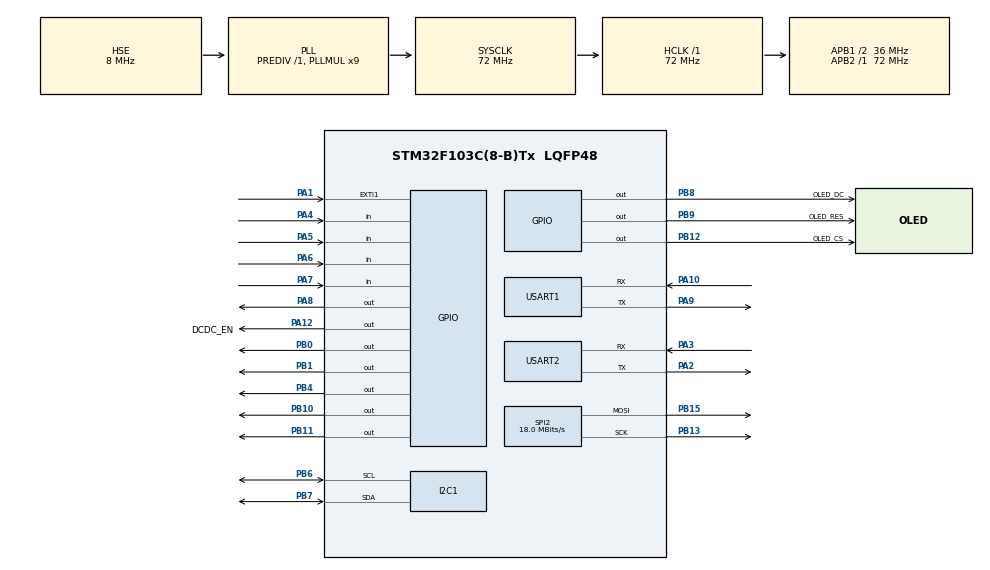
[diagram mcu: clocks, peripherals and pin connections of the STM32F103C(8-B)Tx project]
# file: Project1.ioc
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FREERTOS.Tasks01=defaultTask,24,128,StartDefaultTask,Default,NULL,Dynamic,NULL,NULL
Mcu.Family=STM32F1
Mcu.Name=STM32F103C(8-B)Tx
Mcu.Package=LQFP48
NVIC.PriorityGroup=NVIC_PRIORITYGROUP_4
NVIC.TIM1_UP_IRQn=true\:15\:0\:false\:false\:true\:false\:false\:true\:true
NVIC.TimeBase=TIM1_UP_IRQn
NVIC.TimeBaseIP=TIM1
PA0-WKUP.Mode=SYS_WakeUp0
PA0-WKUP.Signal=SYS_WKUP
PA1.Signal=GPXTI1
PA10.Mode=Asynchronous
PA10.Signal=USART1_RX
PA12.GPIO_Label=DCDC_EN
PA12.GPIO_PuPd=GPIO_PULLUP
PA12.GPIO_Speed=GPIO_SPEED_FREQ_HIGH
PA12.PinState=GPIO_PIN_SET
PA12.Signal=GPIO_Output
PA13.Mode=Serial_Wire
PA13.Signal=SYS_JTMS-SWDIO
PA14.Mode=Serial_Wire
PA14.Signal=SYS_JTCK-SWCLK
PA2.Mode=Asynchronous
PA2.Signal=USART2_TX
PA3.Mode=Asynchronous
PA3.Signal=USART2_RX
PA4.Signal=GPIO_Input
PA5.Signal=GPIO_Input
PA6.Signal=GPIO_Input
PA7.Signal=GPIO_Input
PA8.Signal=GPIO_Output
PA9.Mode=Asynchronous
PA9.Signal=USART1_TX
PB0.Signal=GPIO_Output
PB1.Signal=GPIO_Output
PB10.Signal=GPIO_Output
PB11.Signal=GPIO_Output
PB12.GPIO_Label=OLED_CS
PB12.GPIO_PuPd=GPIO_PULLUP
PB12.GPIO_Speed=GPIO_SPEED_FREQ_HIGH
PB12.PinState=GPIO_PIN_SET
PB12.Signal=GPIO_Output
PB13.Mode=TX_Only_Simplex_Unidirect_Master
PB13.Signal=SPI2_SCK
PB15.Mode=TX_Only_Simplex_Unidirect_Master
PB15.Signal=SPI2_MOSI
PB4.Signal=GPIO_Output
PB6.Mode=I2C
PB6.Signal=I2C1_SCL
PB7.Mode=I2C
PB7.Signal=I2C1_SDA
PB8.GPIO_Label=OLED_DC
PB8.GPIO_PuPd=GPIO_PULLUP
PB8.GPIO_Speed=GPIO_SPEED_FREQ_HIGH
PB8.Signal=GPIO_Output
PB9.GPIO_Label=OLED_RES
PB9.GPIO_PuPd=GPIO_PULLUP
PB9.GPIO_Speed=GPIO_SPEED_FREQ_HIGH
PB9.Signal=GPIO_Output
PC14-OSC32_IN.Mode=LSE-External-Oscillator
PC14-OSC32_IN.Signal=RCC_OSC32_IN
PC15-OSC32_OUT.Mode=LSE-External-Oscillator
PC15-OSC32_OUT.Signal=RCC_OSC32_OUT
PD0-OSC_IN.Mode=HSE-External-Oscillator
PD0-OSC_IN.Signal=RCC_OSC_IN
PD1-OSC_OUT.Mode=HSE-External-Oscillator
PD1-OSC_OUT.Signal=RCC_OSC_OUT
ProjectManager.HeapSize=0x200
ProjectManager.StackSize=0x400
ProjectManager.TargetToolchain=MDK-ARM V5.32
RCC.AHBFreq_Value=72000000
RCC.APB1CLKDivider=RCC_HCLK_DIV2
RCC.APB1Freq_Value=36000000
RCC.APB1TimFreq_Value=72000000
RCC.APB2Freq_Value=72000000
RCC.APB2TimFreq_Value=72000000
RCC.HCLKFreq_Value=72000000
RCC.PLLMUL=RCC_PLL_MUL9
RCC.PLLSourceVirtual=RCC_PLLSOURCE_HSE
RCC.SYSCLKFreq_VALUE=72000000
RCC.SYSCLKSource=RCC_SYSCLKSOURCE_PLLCLK
RCC.USBFreq_Value=72000000
SPI2.CalculateBaudRate=18.0 MBits/s
SPI2.Direction=SPI_DIRECTION_2LINES
SPI2.Mode=SPI_MODE_MASTER
SPI2.VirtualType=VM_MASTER
USART1.VirtualMode=VM_ASYNC
USART2.VirtualMode=VM_ASYNC
VP_FREERTOS_VS_CMSIS_V2.Mode=CMSIS_V2
VP_SYS_VS_tim1.Mode=TIM1
board=custom

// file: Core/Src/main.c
/* USER CODE BEGIN Header */
/**
  ******************************************************************************
  * @file           : main.c
  * @brief          : Main program body
  ******************************************************************************
  * @attention
  *
  * Copyright (c) 2023 STMicroelectronics.
  * All rights reserved.
  *
  * This software is licensed under terms that can be found in the LICENSE file
  * in the root directory of this software component.
  * If no LICENSE file comes with this software, it is provided AS-IS.
  *
  ******************************************************************************
  */
/* USER CODE END Header */
#include "main.h"
#include "cmsis_os.h"

/* USER CODE BEGIN Includes */

#include <stdio.h>

#include "oled.h"
#include "uart.h"
#include "flash.h"
#include "sensor_bmp180.h"
#include "sensor_BH1750.h"
#include "sensor_DHT11.h"

#include "u8g2.h"
#include "u8x8.h"

#include "icon.h"

/* USER CODE END Includes */

/* USER CODE BEGIN PD */
#define KEY_SCAN_DELAY 20

#define KEY_UP 			1
#define KEY_3 			2
#define KEY_2 			3
#define KEY_1 			4
#define KEY_RIGHT 	5
#define KEY_6 			6
#define KEY_5 			7
#define KEY_4 			8
#define KEY_LEFT 		9
#define KEY_9 			10
#define KEY_8 			11
#define KEY_7 			12
#define KEY_DOWN 		13
#define KEY_ENTER 	14
#define KEY_0 			15
#define KEY_CANCEL 	16

#define UI_PAGE_MAX 		1
#define UI_SETTING_MAX 	2

/* USER CODE END PD */

I2C_HandleTypeDef hi2c1;

SPI_HandleTypeDef hspi2;

UART_HandleTypeDef huart1;
UART_HandleTypeDef huart2;

uint32_t readBuffer[3];

float  		environment_pressure 						=	 0.0;
float 		environment_temperature_BMP180 	=	 0.0;
float 		environment_temperature_DHT11 	=	 0.0;
uint16_t	environment_humidity 						=	 0;
uint16_t  environment_light						  	=  0;

float			limit_pressure;
float			limit_temperature;
uint16_t 	limit_humidity;
uint16_t 	limit_light;

uint8_t UI_page = 0;
uint8_t UI_subpage = 0;
uint8_t UI_wifi_page = 0;
uint8_t UI_setting_selected = 0;
uint8_t UI_setting_subselected = 0;
uint8_t UI_SUBSELECTED_MAX = 0;

char str_buffer[32];

u8g2_t u8g2;

#define UART2_BUFFER_SIZE 2048
char buffer_rx[UART2_BUFFER_SIZE];
uint8_t a_buffer_rx;
uint32_t count_rx = 0;

//Wi-Fi
#define WIFI_ACTION_NONE 		0
#define WIFI_ACTION_SCAN 		1
#define WIFI_ACTION_CONN 		2
#define WIFI_ACTION_DISCONN 3
#define WIFI_ACTION_CHECK		4
#define WIFI_ACTION_CHKCONN	5
#define WIFI_ACTION_TCPSEND	6
#define WIFI_ACTION_RECEIVE	7
uint8_t wifi_action_now = WIFI_ACTION_NONE;

#define WIFI_STATUS_CONN 		1
#define WIFI_STATUS_DISCONN 2
uint8_t wifi_status_now = WIFI_STATUS_DISCONN;

typedef struct {
	uint8_t ecn;
	uint8_t ssid[32];
	uint8_t mac[6];
} wifi_info_typedef;

#define WIFI_LIST_INDEX_MAX 30
#define WIFI_SHOW_PAGE_MAX 5

wifi_info_typedef wifi_info[WIFI_LIST_INDEX_MAX];
wifi_info_typedef wifi_info_connect;

#define WIFI_UART_RETRY_TIME_MAX 4
uint8_t wifi_uart_retry_time = 0;

uint8_t wifi_rssi_inverted = 0;

uint8_t server_ip[4] = {192, 168, 31, 140};
uint16_t server_port = 1234;

uint8_t connection_status = 0;

uint8_t tcp_buffer_tx[1024];

const char UI_setting_texts[3][7] = {
		"Alarm",
		"Wi-Fi",
		"Upload",
	};

/* Definitions for tasks */

/*
osThreadId_t ;
const osThreadAttr_t _attributes = {
	.name = "",
	.stack_size = 128 * ,
	.priority = (osPriority_t) osPriorityNormal,
};
*/

osThreadId_t OLEDTaskHandle;
const osThreadAttr_t OLEDTask_attributes = {
  .name = "OLEDTask",
  .stack_size = 128 * 4,
  .priority = (osPriority_t) osPriorityNormal,
};

osThreadId_t uartDebugTaskHandle;
const osThreadAttr_t uartDebugTask_attributes = {
	.name = "uartDebug",
	.stack_size = 128 * 4,
	.priority = (osPriority_t) osPriorityNormal,
};

osThreadId_t getSensorDataTaskHandle;
const osThreadAttr_t getSensorDataTask_attributes = {
	.name = "sensorData",
	.stack_size = 128 * 4,
	.priority = (osPriority_t) osPriorityNormal,
};

osThreadId_t get1WireDataTaskHandle;
const osThreadAttr_t get1WireDataTask_attributes = {
	.name = "1WireData",
	.stack_size = 128 * 4,
	.priority = (osPriority_t) osPriorityRealtime,	//Need high priority for 1-wire communication.
};

osThreadId_t keyboardServiceTaskHandle;
const osThreadAttr_t keyboardServiceTaskHandle_attributes = {
	.name = "keyboardServ",
	.stack_size = 128 * 4,
	.priority = (osPriority_t) osPriorityNormal2,
};

osThreadId_t buzzerTaskHandle;
const osThreadAttr_t buzzerTaskHandle_attributes = {
	.name = "buzzer",
	.stack_size = 128 * 2,
	.priority = (osPriority_t) osPriorityNormal1,
};

osThreadId_t wifiServiceTaskHandle;
const osThreadAttr_t wifiServiceTaskHandle_attributes = {
	.name = "wifiServ",
	.stack_size = 128 * 1,
	.priority = (osPriority_t) osPriorityNormal2,
};

void SystemClock_Config(void);
static void MX_GPIO_Init(void);
static void MX_I2C1_Init(void);
static void MX_SPI2_Init(void);
static void MX_USART1_UART_Init(void);
static void MX_USART2_UART_Init(void);

void StartOLEDTask(void *argument);
void StartUartDebugTask(void *argument);
void StartGetSensorDataTask(void *argument);
void StartGet1WireDataTask(void *argument);
void StartKeyboardServiceTask(void *argument);
void StartBuzzerTask(void *argument);
void StartWifiServiceTask(void *argument);

uint8_t u8x8_stm32_gpio_and_delay(U8X8_UNUSED u8x8_t *u8x8, U8X8_UNUSED uint8_t msg, U8X8_UNUSED uint8_t arg_int, U8X8_UNUSED void *arg_ptr);
uint8_t u8x8_byte_4wire_hw_spi(u8x8_t *u8x8, uint8_t msg, uint8_t arg_int,void *arg_ptr);
void u8g2_Init(u8g2_t *u8g2);
void u8g2_Draw(u8g2_t *u8g2);

void draw_inputBox(u8g2_t *u8g2, uint8_t x, uint8_t y, uint8_t w, uint8_t h, float value);

uint8_t char2hex(uint8_t ch1, uint8_t ch2);

uint8_t char2hex(uint8_t ch_hi, uint8_t ch_lo)	{
	uint8_t ans = 0x00;

	switch(ch_hi){
		case '1': ans |= 0x10; break;
		case '2': ans |= 0x20; break;
		case '3': ans |= 0x30; break;
		case '4': ans |= 0x40; break;
		case '5': ans |= 0x50; break;
		case '6': ans |= 0x60; break;
		case '7': ans |= 0x70; break;
		case '8': ans |= 0x80; break;
		case '9': ans |= 0x90; break;
		case 'A':
		case 'a': ans |= 0xA0; break;
		case 'B':
		case 'b': ans |= 0xB0; break;
		case 'C':
		case 'c': ans |= 0xC0; break;
		case 'D':
		case 'd': ans |= 0xD0; break;
		case 'E':
		case 'e': ans |= 0xE0; break;
		case 'F':
		case 'f': ans |= 0xF0; break;
		default: break;
	}

		switch(ch_lo){
		case '1': ans |= 0x01; break;
		case '2': ans |= 0x02; break;
		case '3': ans |= 0x03; break;
		case '4': ans |= 0x04; break;
		case '5': ans |= 0x05; break;
		case '6': ans |= 0x06; break;
		case '7': ans |= 0x07; break;
		case '8': ans |= 0x08; break;
		case '9': ans |= 0x09; break;
		case 'A':
		case 'a': ans |= 0x0A; break;
		case 'B':
		case 'b': ans |= 0x0B; break;
		case 'C':
		case 'c': ans |= 0x0C; break;
		case 'D':
		case 'd': ans |= 0x0D; break;
		case 'E':
		case 'e': ans |= 0x0E; break;
		case 'F':
		case 'f': ans |= 0x0F; break;
		default: break;
	}

	return ans;
}

int main(void)
{

  /* MCU Configuration--------------------------------------------------------*/

  /* Reset of all peripherals, Initializes the Flash interface and the Systick. */
  HAL_Init();

  /* Configure the system clock */
  SystemClock_Config();

  /* Initialize all configured peripherals */
  MX_GPIO_Init();
  MX_I2C1_Init();
  MX_SPI2_Init();
  MX_USART1_UART_Init();
  MX_USART2_UART_Init();
  /* USER CODE BEGIN 2 */

	HAL_PWR_EnableWakeUpPin(PWR_WAKEUP_PIN1);
	SET_BIT(PWR->CR, PWR_CR_CWUF_Msk);
	SET_BIT(PWR->CR, PWR_CR_CSBF_Msk);

	HAL_GPIO_WritePin(GPIOA, GPIO_PIN_13, GPIO_PIN_SET);

	OLED_Init();

	HAL_I2C_Init(&hi2c1);
	BMP180_Init();

	//read from flash page 127.
	readData(0x08000000 + 0x400 * 127, readBuffer, 3);
	UartSend(&huart1, "Read data:\n");
	sprintf(str_buffer, "%08x\n%08x\n%08x\n", readBuffer[0], readBuffer[1], readBuffer[2]);
	UartSend(&huart1, str_buffer);

	if(readBuffer[0] == 0xFFFFFFFF && readBuffer[1] == 0xFFFFFFFF && readBuffer[2] == 0xFFFFFFFF){

		//first boot-up after flashing.
		limit_pressure		 = 2000;
		limit_temperature	 = 40.0;
		limit_humidity		 = 80;
		limit_light				 = 2000;

	}
	else{

		limit_pressure 		= readBuffer[0];
		limit_temperature = readBuffer[1];
		limit_humidity 		= (readBuffer[2] >> 16) & 0xFFFF;
		limit_light				= (readBuffer[2]) & 0xFFFF;

	}

//	BH1750_Send_Cmd(POWER_ON_CMD);
//	BH1750_Send_Cmd(RESET_REGISTER);
//	BH1750_Send_Cmd(CONT_H_MODE);

  /* USER CODE END 2 */

  /* Init scheduler */
  osKernelInitialize();

  /* Create the thread(s) */

  OLEDTaskHandle 						=   osThreadNew(StartOLEDTask, NULL, &OLEDTask_attributes);
//	uartDebugTaskHandle 			= 	osThreadNew(StartUartDebugTask, NULL, &uartDebugTask_attributes);
	getSensorDataTaskHandle 	= 	osThreadNew(StartGetSensorDataTask, NULL, &getSensorDataTask_attributes);
	get1WireDataTaskHandle	  = 	osThreadNew(StartGet1WireDataTask, NULL, &get1WireDataTask_attributes);
	keyboardServiceTaskHandle = 	osThreadNew(StartKeyboardServiceTask, NULL, &keyboardServiceTaskHandle_attributes);
	buzzerTaskHandle					=		osThreadNew(StartBuzzerTask, NULL, &buzzerTaskHandle_attributes);
	wifiServiceTaskHandle			=		osThreadNew(StartWifiServiceTask, NULL, &wifiServiceTaskHandle_attributes);

  /* USER CODE END RTOS_THREADS */

  /* Start scheduler */
  osKernelStart();

  /* We should never get here as control is now taken by the scheduler */
  /* Infinite loop */
  while (1)
  {

  }
}

void SystemClock_Config(void)			//PLL 72MHz
{
  RCC_OscInitTypeDef RCC_OscInitStruct = {0};
  RCC_ClkInitTypeDef RCC_ClkInitStruct = {0};

  /** Initializes the RCC Oscillators according to the specified parameters
  * in the RCC_OscInitTypeDef structure.
  */
  RCC_OscInitStruct.OscillatorType = RCC_OSCILLATORTYPE_HSE;
  RCC_OscInitStruct.HSEState = RCC_HSE_ON;
  RCC_OscInitStruct.HSEPredivValue = RCC_HSE_PREDIV_DIV1;
  RCC_OscInitStruct.HSIState = RCC_HSI_ON;
  RCC_OscInitStruct.PLL.PLLState = RCC_PLL_ON;
  RCC_OscInitStruct.PLL.PLLSource = RCC_PLLSOURCE_HSE;
  RCC_OscInitStruct.PLL.PLLMUL = RCC_PLL_MUL9;
  if (HAL_RCC_OscConfig(&RCC_OscInitStruct) != HAL_OK)
  {
    Error_Handler();
  }

  /** Initializes the CPU, AHB and APB buses clocks
  */
  RCC_ClkInitStruct.ClockType = RCC_CLOCKTYPE_HCLK|RCC_CLOCKTYPE_SYSCLK
                              |RCC_CLOCKTYPE_PCLK1|RCC_CLOCKTYPE_PCLK2;
  RCC_ClkInitStruct.SYSCLKSource = RCC_SYSCLKSOURCE_PLLCLK;
  RCC_ClkInitStruct.AHBCLKDivider = RCC_SYSCLK_DIV1;
  RCC_ClkInitStruct.APB1CLKDivider = RCC_HCLK_DIV2;
  RCC_ClkInitStruct.APB2CLKDivider = RCC_HCLK_DIV1;

  if (HAL_RCC_ClockConfig(&RCC_ClkInitStruct, FLASH_LATENCY_2) != HAL_OK)
  {
    Error_Handler();
  }

  /** Enables the Clock Security System
  */
  HAL_RCC_EnableCSS();
}

//void SystemClock_Config(void)			//HSI 8MHz
//{
//  RCC_OscInitTypeDef RCC_OscInitStruct = {0};
//  RCC_ClkInitTypeDef RCC_ClkInitStruct = {0};

//  /** Initializes the RCC Oscillators according to the specified parameters
//  * in the RCC_OscInitTypeDef structure.
//  */
//  RCC_OscInitStruct.OscillatorType = RCC_OSCILLATORTYPE_HSI;
//  RCC_OscInitStruct.HSIState = RCC_HSI_ON;
//  RCC_OscInitStruct.HSICalibrationValue = RCC_HSICALIBRATION_DEFAULT;
//  RCC_OscInitStruct.PLL.PLLState = RCC_PLL_NONE;
//  if (HAL_RCC_OscConfig(&RCC_OscInitStruct) != HAL_OK)
//  {
//    Error_Handler();
//  }

//  /** Initializes the CPU, AHB and APB buses clocks
//  */
//  RCC_ClkInitStruct.ClockType = RCC_CLOCKTYPE_HCLK|RCC_CLOCKTYPE_SYSCLK
//                              |RCC_CLOCKTYPE_PCLK1|RCC_CLOCKTYPE_PCLK2;
//  RCC_ClkInitStruct.SYSCLKSource = RCC_SYSCLKSOURCE_HSI;
//  RCC_ClkInitStruct.AHBCLKDivider = RCC_SYSCLK_DIV1;
//  RCC_ClkInitStruct.APB1CLKDivider = RCC_HCLK_DIV2;
//  RCC_ClkInitStruct.APB2CLKDivider = RCC_HCLK_DIV1;

//  if (HAL_RCC_ClockConfig(&RCC_ClkInitStruct, FLASH_LATENCY_0) != HAL_OK)
//  {
//    Error_Handler();
//  }
//}

static void MX_I2C1_Init(void)
{

  hi2c1.Instance = I2C1;
  hi2c1.Init.ClockSpeed = 100000;
  hi2c1.Init.DutyCycle = I2C_DUTYCYCLE_2;
  hi2c1.Init.OwnAddress1 = 0;
  hi2c1.Init.AddressingMode = I2C_ADDRESSINGMODE_7BIT;
  hi2c1.Init.DualAddressMode = I2C_DUALADDRESS_DISABLE;
  hi2c1.Init.OwnAddress2 = 0;
  hi2c1.Init.GeneralCallMode = I2C_GENERALCALL_DISABLE;
  hi2c1.Init.NoStretchMode = I2C_NOSTRETCH_DISABLE;
  if (HAL_I2C_Init(&hi2c1) != HAL_OK)
  {
    Error_Handler();
  }

}

static void MX_SPI2_Init(void)
{

  /* SPI2 parameter configuration*/
  hspi2.Instance = SPI2;
  hspi2.Init.Mode = SPI_MODE_MASTER;
  hspi2.Init.Direction = SPI_DIRECTION_2LINES;
  hspi2.Init.DataSize = SPI_DATASIZE_8BIT;
  hspi2.Init.CLKPolarity = SPI_POLARITY_LOW;
  hspi2.Init.CLKPhase = SPI_PHASE_1EDGE;
  hspi2.Init.NSS = SPI_NSS_SOFT;
  hspi2.Init.BaudRatePrescaler = SPI_BAUDRATEPRESCALER_2;
  hspi2.Init.FirstBit = SPI_FIRSTBIT_MSB;
  hspi2.Init.TIMode = SPI_TIMODE_DISABLE;
  hspi2.Init.CRCCalculation = SPI_CRCCALCULATION_DISABLE;
  hspi2.Init.CRCPolynomial = 10;
  if (HAL_SPI_Init(&hspi2) != HAL_OK)
  {
    Error_Handler();
  }

}

static void MX_USART1_UART_Init(void)
{

  huart1.Instance = USART1;
  huart1.Init.BaudRate = 115200;
  huart1.Init.WordLength = UART_WORDLENGTH_8B;
  huart1.Init.StopBits = UART_STOPBITS_1;
  huart1.Init.Parity = UART_PARITY_NONE;
  huart1.Init.Mode = UART_MODE_TX_RX;
  huart1.Init.HwFlowCtl = UART_HWCONTROL_NONE;
  huart1.Init.OverSampling = UART_OVERSAMPLING_16;
  if (HAL_UART_Init(&huart1) != HAL_OK)
  {
    Error_Handler();
  }

}

static void MX_USART2_UART_Init(void)
{

  huart2.Instance = USART2;
  huart2.Init.BaudRate = 115200;
  huart2.Init.WordLength = UART_WORDLENGTH_8B;
  huart2.Init.StopBits = UART_STOPBITS_1;
  huart2.Init.Parity = UART_PARITY_NONE;
  huart2.Init.Mode = UART_MODE_TX_RX;
  huart2.Init.HwFlowCtl = UART_HWCONTROL_NONE;
  huart2.Init.OverSampling = UART_OVERSAMPLING_16;
  if (HAL_UART_Init(&huart2) != HAL_OK)
  {
    Error_Handler();
  }
	HAL_UART_MspInit(&huart2);
  HAL_UART_Receive_IT(&huart2, (uint8_t *)&a_buffer_rx, 1);

}

void HAL_UART_RxCpltCallback(UART_HandleTypeDef *huart) {

	if(huart->Instance == USART2){

		if(wifi_action_now != WIFI_ACTION_NONE || connection_status == 3){
			if(count_rx >= UART2_BUFFER_SIZE - 1){
					UartSend(&huart1, "!Usart2 buffer OVERFLOW!\n");
					count_rx = 0;
					memset(buffer_rx, 0x00, sizeof(buffer_rx));
			}
			else{
				buffer_rx[count_rx++] = a_buffer_rx;

				if(buffer_rx[count_rx - 6] == 'D' && buffer_rx[count_rx - 5] == 'T' &&buffer_rx[count_rx - 4] == 'O' && buffer_rx[count_rx - 3] == 'K' && buffer_rx[count_rx - 2] == '\r' && buffer_rx[count_rx - 1] == '\n'){
					wifi_action_now = WIFI_ACTION_RECEIVE;
					UartSend(&huart1, "[TCP DATA]\n");
				}

				if((buffer_rx[count_rx - 4] == 'O') && (buffer_rx[count_rx - 3] == 'K') && (buffer_rx[count_rx - 2] == '\r') && (buffer_rx[count_rx - 1] == '\n')){

					HAL_UART_Transmit(&huart1, (uint8_t *)&buffer_rx, count_rx, 0xFFFF);

					switch(wifi_action_now){

						case WIFI_ACTION_SCAN: {
								uint8_t index = 0;
							  char cat_tmp[2];
								cat_tmp[1] = '\0';
								for(uint32_t i = 0; i < count_rx; i++){
									if(buffer_rx[i] == '+' && buffer_rx[i + 1] == 'C' && buffer_rx[i + 2] == 'W' && buffer_rx[i + 3] == 'L' && buffer_rx[i + 4] == 'A' && buffer_rx[i + 5] == 'P' && buffer_rx[i + 6] == ':'){
										wifi_info[index].ecn = buffer_rx[i + 8] - '0';
										strcpy((char *)wifi_info[index].ssid, "");

										i += 11;

										while(buffer_rx[i] != '"' && i < count_rx){
											cat_tmp[0] = buffer_rx[i];
											strcat((char *)wifi_info[index].ssid, cat_tmp);
											i++;
										}

										i++;
										while(buffer_rx[i] != '"' && i < count_rx){
											i++;
										}

										i++;
										for(uint8_t j = 0; j < 6; j++){
											wifi_info[index].mac[j] = char2hex(buffer_rx[i + j * 3], buffer_rx[i + j * 3 + 1]);
										}

										i += 20;

										index++;
									}
								}

//								UartSend(&huart1, "\nProcessed:\n");
//								char tmp[128];
//								for(uint8_t i = 0; i < WIFI_LIST_INDEX_MAX; i++){
//									sprintf(tmp, "[index: %d]====\necn:%d\nssid:%s\nmac:%x:%x:%x:%x:%x:%x\n\n", i, wifi_info[i].ecn, wifi_info[i].ssid, wifi_info[i].mac[0], wifi_info[i].mac[1], wifi_info[i].mac[2], wifi_info[i].mac[3], wifi_info[i].mac[4], wifi_info[i].mac[5]);
//									UartSend(&huart1, tmp);
//								}

							}
							break;

						case WIFI_ACTION_CONN: {
								wifi_status_now = WIFI_STATUS_CONN;

							}
							break;

						case WIFI_ACTION_DISCONN: {
								wifi_status_now = WIFI_STATUS_DISCONN;
								UI_subpage = 0;
							}
							break;

						case WIFI_ACTION_CHECK: {

								wifi_uart_retry_time = 0;

								if(buffer_rx[0] == 'N' && buffer_rx[1] == 'o'){
									wifi_status_now = WIFI_STATUS_DISCONN;
								}
								else{
									wifi_status_now = WIFI_STATUS_CONN;

									char cat_tmp[2];
									cat_tmp[1] = '\0';
									uint16_t i = 0;

									strcpy((char *)wifi_info_connect.ssid, "");

									i += 8;

									while(buffer_rx[i] != '"' && i < count_rx){
										cat_tmp[0] = buffer_rx[i];
										strcat((char *)wifi_info_connect.ssid, cat_tmp);
										i++;
									}

									i += 3;

									for(uint8_t j = 0; j < 6; j++){
										wifi_info_connect.mac[j] = char2hex(buffer_rx[i + j * 3], buffer_rx[i + j * 3 + 1]);
									}

									i += 20;

									while(buffer_rx[i] != ',' && i < count_rx){
										i++;
									}

									i += 2;

									if(buffer_rx[i + 2] >= '0' && buffer_rx[i + 2] <= '9'){
										wifi_rssi_inverted = (buffer_rx[i] - '0') * 100 + (buffer_rx[i + 1] - '0') * 10 + (buffer_rx[i + 2] - '0');
									}
									else if(buffer_rx[i + 1] >= '0' && buffer_rx[i + 1] <= '9'){
										wifi_rssi_inverted = (buffer_rx[i] - '0') * 10 + (buffer_rx[i + 1] - '0');
									}
									else{
										wifi_rssi_inverted = (buffer_rx[i] - '0');
									}
								}
							}
							break;

						case WIFI_ACTION_CHKCONN: {

								if(connection_status != buffer_rx[7] - '0' && buffer_rx[7] - '0' == 3){
									UartSend(&huart2, "AT+CIPRECVMODE=0\r\n");
									UartSend(&huart1, "[Receive mode set.]\n");
								}

								connection_status = buffer_rx[7] - '0';

								if(connection_status == 2 || connection_status == 4){
										sprintf((char *)tcp_buffer_tx, "AT+CIPSTART=\"TCP\",\"%d.%d.%d.%d\",%d\r\n", server_ip[0], server_ip[1], server_ip[2], server_ip[3], server_port);
										UartSend(&huart2, (char *)tcp_buffer_tx);

								}
							}
							break;

						case WIFI_ACTION_TCPSEND: {
								sprintf((char *)tcp_buffer_tx, "%06.2f|%06.2f|%07.2f|%02d|%05d", environment_temperature_BMP180, environment_temperature_DHT11, environment_pressure, environment_humidity, environment_light);
								UartSend(&huart2, (char *)tcp_buffer_tx);
								UartSend(&huart1, (char *)tcp_buffer_tx);
							}
							break;

						case WIFI_ACTION_RECEIVE: {
								UartSend(&huart1, "[Data received.]");
								uint8_t i = 3;
								while(buffer_rx[i] != '@' && i < count_rx){
									i++;
								}
								if(i < count_rx){
									i++;

									limit_temperature = (buffer_rx[i] - '0') * 100 + (buffer_rx[i + 1] - '0') * 10 + (buffer_rx[i + 2] - '0') + (buffer_rx[i + 4] - '0') / 10.0 + (buffer_rx[i + 5] - '0') / 100.0;
									limit_pressure = (buffer_rx[i + 7] - '0') * 1000 + (buffer_rx[i + 8] - '0') * 100 + (buffer_rx[i + 9] - '0') * 10 + (buffer_rx[i + 10] - '0') + (buffer_rx[i + 12] - '0') / 10.0 + (buffer_rx[i + 13] - '0') / 100.0;
									limit_humidity = (buffer_rx[i + 15] - '0') * 10 + (buffer_rx[i + 16] - '0');
									limit_light = (buffer_rx[i + 18] - '0') * 10000 + (buffer_rx[i + 19] - '0') * 1000 + (buffer_rx[i + 20] - '0') * 100 + (buffer_rx[i + 21] - '0') * 10 + (buffer_rx[i + 22] - '0');
								}

							}
							break;

						default:
							break;
					}

					wifi_action_now = WIFI_ACTION_NONE;
					count_rx = 0;
					memset(buffer_rx, 0x00, sizeof(buffer_rx));

				}
				else if((buffer_rx[count_rx - 7] == 'E') && (buffer_rx[count_rx - 6] == 'R') && (buffer_rx[count_rx - 5] == 'R') && (buffer_rx[count_rx - 4] == 'O') && (buffer_rx[count_rx - 3] == 'R') && (buffer_rx[count_rx - 2] == '\r') && (buffer_rx[count_rx - 1] == '\n')){

					HAL_UART_Transmit(&huart1, (uint8_t *)&buffer_rx, count_rx, 0xFFFF);

					switch(wifi_action_now){
						case WIFI_ACTION_SCAN: {

						}
						break;

						case WIFI_ACTION_CONN: {
							wifi_status_now = WIFI_STATUS_DISCONN;

							wifi_info_connect.ecn = 0;
							strcpy((char *)wifi_info_connect.ssid, "");
							for(uint8_t i = 0; i < 6; i++) wifi_info_connect.ssid[i] = 0x00;

						}
						break;

						default:
							break;
					}

					wifi_action_now = WIFI_ACTION_NONE;
					count_rx = 0;
					memset(buffer_rx, 0x00, sizeof(buffer_rx));

				}
			}
		}
		HAL_UART_Receive_IT(&huart2, (uint8_t *)&a_buffer_rx, 1);
	}

}

static void MX_GPIO_Init(void)
{
  GPIO_InitTypeDef GPIO_InitStruct = {0};

  /* GPIO Ports Clock Enable */
  __HAL_RCC_GPIOC_CLK_ENABLE();
  __HAL_RCC_GPIOD_CLK_ENABLE();
  __HAL_RCC_GPIOA_CLK_ENABLE();
  __HAL_RCC_GPIOB_CLK_ENABLE();

  /*Configure GPIO pin Output Level */
  HAL_GPIO_WritePin(GPIOB, GPIO_PIN_0|GPIO_PIN_1|GPIO_PIN_10|GPIO_PIN_11
                          |GPIO_PIN_4|OLED_DC_Pin|OLED_RES_Pin, GPIO_PIN_RESET);

  /*Configure GPIO pin Output Level */
  HAL_GPIO_WritePin(OLED_CS_GPIO_Port, OLED_CS_Pin, GPIO_PIN_SET);

  /*Configure GPIO pin Output Level */
  HAL_GPIO_WritePin(GPIOA, GPIO_PIN_8, GPIO_PIN_RESET);

  /*Configure GPIO pin Output Level */
  HAL_GPIO_WritePin(DCDC_EN_GPIO_Port, DCDC_EN_Pin, GPIO_PIN_SET);

  /*Configure GPIO pin : PC13 */
  GPIO_InitStruct.Pin = GPIO_PIN_13;
  GPIO_InitStruct.Mode = GPIO_MODE_ANALOG;
  HAL_GPIO_Init(GPIOC, &GPIO_InitStruct);

  /*Configure GPIO pin : PA1 */
  GPIO_InitStruct.Pin = GPIO_PIN_1;
  GPIO_InitStruct.Mode = GPIO_MODE_IT_RISING;
  GPIO_InitStruct.Pull = GPIO_NOPULL;
  HAL_GPIO_Init(GPIOA, &GPIO_InitStruct);

  /*Configure GPIO pins : PA4 PA5 PA6 PA7 */
  GPIO_InitStruct.Pin = GPIO_PIN_4|GPIO_PIN_5|GPIO_PIN_6|GPIO_PIN_7;
  GPIO_InitStruct.Mode = GPIO_MODE_INPUT;
  GPIO_InitStruct.Pull = GPIO_PULLUP;
  HAL_GPIO_Init(GPIOA, &GPIO_InitStruct);

  /*Configure GPIO pins : PB0 PB1 PB10 PB11 */
  GPIO_InitStruct.Pin = GPIO_PIN_0|GPIO_PIN_1|GPIO_PIN_10|GPIO_PIN_11;
  GPIO_InitStruct.Mode = GPIO_MODE_OUTPUT_PP;
  GPIO_InitStruct.Pull = GPIO_NOPULL;
  GPIO_InitStruct.Speed = GPIO_SPEED_FREQ_LOW;
  HAL_GPIO_Init(GPIOB, &GPIO_InitStruct);

	/*Configure GPIO pins : PB4 */
	GPIO_InitStruct.Pin = GPIO_PIN_4;
  GPIO_InitStruct.Mode = GPIO_MODE_OUTPUT_PP;
  GPIO_InitStruct.Pull = GPIO_NOPULL;
  GPIO_InitStruct.Speed = GPIO_SPEED_FREQ_HIGH;
  HAL_GPIO_Init(GPIOB, &GPIO_InitStruct);

  /*Configure GPIO pins : PB2 PB14 PB3 PB5 */
  GPIO_InitStruct.Pin = GPIO_PIN_2|GPIO_PIN_14|GPIO_PIN_3|GPIO_PIN_5;
  GPIO_InitStruct.Mode = GPIO_MODE_ANALOG;
  HAL_GPIO_Init(GPIOB, &GPIO_InitStruct);

  /*Configure GPIO pins : OLED_CS_Pin OLED_DC_Pin OLED_RES_Pin */
  GPIO_InitStruct.Pin = OLED_CS_Pin|OLED_DC_Pin|OLED_RES_Pin;
  GPIO_InitStruct.Mode = GPIO_MODE_OUTPUT_PP;
  GPIO_InitStruct.Pull = GPIO_PULLUP;
  GPIO_InitStruct.Speed = GPIO_SPEED_FREQ_HIGH;
  HAL_GPIO_Init(GPIOB, &GPIO_InitStruct);

  /*Configure GPIO pin : PA8 */
  GPIO_InitStruct.Pin = GPIO_PIN_8;
  GPIO_InitStruct.Mode = GPIO_MODE_OUTPUT_PP;
  GPIO_InitStruct.Pull = GPIO_NOPULL;
  GPIO_InitStruct.Speed = GPIO_SPEED_FREQ_LOW;
  HAL_GPIO_Init(GPIOA, &GPIO_InitStruct);

  /*Configure GPIO pins : PA11 PA15 */
  GPIO_InitStruct.Pin = GPIO_PIN_11|GPIO_PIN_15;
  GPIO_InitStruct.Mode = GPIO_MODE_ANALOG;
  HAL_GPIO_Init(GPIOA, &GPIO_InitStruct);

  /*Configure GPIO pin : DCDC_EN_Pin PA13*/
  GPIO_InitStruct.Pin = DCDC_EN_Pin | GPIO_PIN_13;
  GPIO_InitStruct.Mode = GPIO_MODE_OUTPUT_PP;
  GPIO_InitStruct.Pull = GPIO_PULLUP;
  GPIO_InitStruct.Speed = GPIO_SPEED_FREQ_LOW;
  HAL_GPIO_Init(GPIOA, &GPIO_InitStruct);

}

void StartOLEDTask(void *argument)
{
	//char buffer[32];
	OLED_RES_Set();
	u8g2_Init(&u8g2);
  for(;;)
  {
		u8g2_FirstPage(&u8g2);
		do{
			u8g2_Draw(&u8g2);
		}while(u8g2_NextPage(&u8g2));

    osDelay(1);
  }

}

void StartUartDebugTask(void *argument){

	char buffer[48];

	for(;;){
		UartSend(&huart1, "\nEnvironment Status:\n");

		sprintf(buffer, "Pressure: %f\n", environment_pressure);
		UartSend(&huart1, buffer);

		sprintf(buffer, "Temperature(BMP180): %f\n", environment_temperature_BMP180);
		UartSend(&huart1, buffer);

		sprintf(buffer, "Temperature(DHT11): %f\n", environment_temperature_DHT11);
		UartSend(&huart1, buffer);

		sprintf(buffer, "Humidity: %d\n", environment_humidity);
		UartSend(&huart1, buffer);

		sprintf(buffer, "Light: %d\n", environment_light);
		UartSend(&huart1, buffer);

//		sprintf(buffer, "%lu\n", (unsigned long)HAL_RCC_GetHCLKFreq());
//		UartSend(&huart1, buffer);

		UartSend(&huart1, "\n");

		osDelay(1000);
	}
}

void StartGetSensorDataTask(void *argument){

	uint8_t lightData_Raw[2];

	for(;;){

		environment_pressure = BMP180_GetPressure();

		environment_temperature_BMP180 = BMP180_GetTemperature();

		if(BH1750_Send_Cmd(CONT_H_MODE) == HAL_OK){
			HAL_Delay(200);
			if(BH1750_Read_Dat(lightData_Raw) == HAL_OK){
				environment_light = BH1750_Dat_To_Lux(lightData_Raw);
			}
		}

		osDelay(1000);
	}

}

void StartGet1WireDataTask(void *argument){

	osDelay(1000);

	for(;;){
		DHT11_Read_Data(&environment_humidity, &environment_temperature_DHT11);

		osDelay(2000);
	}

}

void StartWifiServiceTask(void *argument) {

	osDelay(1000);

	uint8_t retry = 0;

	//Set up wifi.
	UartSend(&huart2, "ATE0\r\n");	//Disable echoing.
	osDelay(100);
	UartSend(&huart2, "AT+CWMODE=1\r\n");	//Set to STA mode.
	osDelay(100);
	UartSend(&huart2, "AT+CWRECONNCFG=0,0\r\n");	//Disable auto-reconnect
	osDelay(100);
	UartSend(&huart2, "AT+CIPMUX=0\r\n");	//Disable muti-connection
	osDelay(4000);
	wifi_action_now = WIFI_ACTION_CHECK;
	UartSend(&huart2, "AT+CWJAP?\r\n");
	osDelay(1000);

	for(;;){
		if((wifi_action_now == WIFI_ACTION_NONE || wifi_action_now == WIFI_ACTION_CHECK) && wifi_status_now == WIFI_STATUS_CONN && UI_subpage == 0){
			if(wifi_uart_retry_time >= WIFI_UART_RETRY_TIME_MAX){
				wifi_action_now = WIFI_ACTION_NONE;
				HAL_UART_Receive_IT(&huart2, (uint8_t *)&a_buffer_rx, 1);
				osDelay(500);
				UartSend(&huart1, "[Wi-Fi Uart reset]\n");
			}
			wifi_action_now = WIFI_ACTION_CHECK;

			UartSend(&huart2, "AT+CWJAP?\r\n");
			wifi_uart_retry_time++;
			osDelay(500);
			UartSend(&huart1, "[Wi-Fi check command sent.]\n");

			retry = 0;
			while(wifi_action_now != WIFI_ACTION_NONE){
				if(retry >= 10) break;
				retry++;
				osDelay(500);
			}

			if(wifi_action_now == WIFI_ACTION_NONE){
				wifi_action_now = WIFI_ACTION_CHKCONN;
				UartSend(&huart2, "AT+CIPSTATUS\r\n");
				osDelay(500);
				UartSend(&huart1, "[Connection check command sent.]\n");
			}

			retry = 0;
			while(wifi_action_now != WIFI_ACTION_NONE){
				if(retry >= 10) break;
				retry++;
				osDelay(500);
			}

			if(wifi_action_now == WIFI_ACTION_NONE && connection_status == 3){
				wifi_action_now = WIFI_ACTION_TCPSEND;
				UartSend(&huart2, "AT+CIPSEND=30\r\n");
				osDelay(500);
				UartSend(&huart1, "[TCP data sent.]\n");
			}

		}
		osDelay(3000);
	}

}

void StartKeyboardServiceTask(void *argument) {
	while(HAL_GPIO_ReadPin(GPIOA, GPIO_PIN_0) == 1);	//to avoid unexpected poweroff after WKUP.

	uint8_t col;
	uint8_t key;
	GPIO_InitTypeDef GPIO_InitStruct;

	char str_buffer[64];

	for(;;){
		col = 0;
		key = 0;

		if(HAL_GPIO_ReadPin(GPIOA, GPIO_PIN_0) == 1){
			//Enter standby mode.
			while(HAL_GPIO_ReadPin(GPIOA, GPIO_PIN_0) == 1);

			uint32_t saveBuffer[3];

			saveBuffer[0] = limit_pressure;
			saveBuffer[1] = limit_temperature;
			saveBuffer[2] = (limit_humidity << 16) | limit_light;

			if(!(saveBuffer[0] == readBuffer[0] && saveBuffer[1] == readBuffer[1] && saveBuffer[2] == readBuffer[2])){
				//save to flash page 127.
				writeData(0x08000000 + 0x400 * 127, saveBuffer, 3);
				UartSend(&huart1, "[Data saved.]\n");
			}

			if(connection_status == 3){
				uint8_t retry = 0;
				while(wifi_action_now != WIFI_ACTION_NONE){
					if(retry >= 10) break;
					HAL_Delay(500);
					retry++;
				}
			}

			UartSend(&huart2, "AT+CIPCLOSE\r\n");
			HAL_Delay(200);

			UartSend(&huart2, "AT+CWQAP\r\n");
			HAL_Delay(100);

			HAL_GPIO_WritePin(DCDC_EN_GPIO_Port, DCDC_EN_Pin, GPIO_PIN_RESET);	//disable DCDC
			UartSend(&huart1, "[DC/DC disabled.]\n");
			SET_BIT(PWR->CR, PWR_CR_CWUF_Msk);
			UartSend(&huart1, "[Power off.]\n");
			HAL_PWR_EnterSTANDBYMode();
		}

		GPIO_InitStruct.Pin = GPIO_PIN_4|GPIO_PIN_5|GPIO_PIN_6|GPIO_PIN_7;
		GPIO_InitStruct.Mode = GPIO_MODE_INPUT;
		GPIO_InitStruct.Pull = GPIO_PULLUP;
		HAL_GPIO_Init(GPIOA, &GPIO_InitStruct);
		GPIO_InitStruct.Pin = GPIO_PIN_0|GPIO_PIN_1|GPIO_PIN_10|GPIO_PIN_11;
		GPIO_InitStruct.Mode = GPIO_MODE_OUTPUT_PP;
		GPIO_InitStruct.Pull = GPIO_NOPULL;
		GPIO_InitStruct.Speed = GPIO_SPEED_FREQ_LOW;
		HAL_GPIO_Init(GPIOB, &GPIO_InitStruct);

		if(HAL_GPIO_ReadPin(GPIOA, GPIO_PIN_4) == 0){
			HAL_Delay(KEY_SCAN_DELAY);
			if(HAL_GPIO_ReadPin(GPIOA, GPIO_PIN_4) == 0) col = 1;
		}
		else if(HAL_GPIO_ReadPin(GPIOA, GPIO_PIN_5) == 0){
			HAL_Delay(KEY_SCAN_DELAY);
			if(HAL_GPIO_ReadPin(GPIOA, GPIO_PIN_5) == 0) col = 2;
		}
		else if(HAL_GPIO_ReadPin(GPIOA, GPIO_PIN_6) == 0){
			HAL_Delay(KEY_SCAN_DELAY);
			if(HAL_GPIO_ReadPin(GPIOA, GPIO_PIN_6) == 0) col = 3;
		}
		else if(HAL_GPIO_ReadPin(GPIOA, GPIO_PIN_7) == 0){
			HAL_Delay(KEY_SCAN_DELAY);
			if(HAL_GPIO_ReadPin(GPIOA, GPIO_PIN_7) == 0) col = 4;
		}

		if(col != 0){
			GPIO_InitStruct.Pin = GPIO_PIN_4|GPIO_PIN_5|GPIO_PIN_6|GPIO_PIN_7;
			GPIO_InitStruct.Mode = GPIO_MODE_OUTPUT_PP;
			GPIO_InitStruct.Pull = GPIO_PULLUP;
			GPIO_InitStruct.Speed = GPIO_SPEED_FREQ_LOW;
			HAL_GPIO_Init(GPIOA, &GPIO_InitStruct);
			GPIO_InitStruct.Pin = GPIO_PIN_0|GPIO_PIN_1|GPIO_PIN_10|GPIO_PIN_11;
			GPIO_InitStruct.Mode = GPIO_MODE_INPUT;
			GPIO_InitStruct.Pull = GPIO_NOPULL;
			HAL_GPIO_Init(GPIOB, &GPIO_InitStruct);

			switch(col){
				case 1:
					if		 (HAL_GPIO_ReadPin(GPIOB, GPIO_PIN_11) == 1) key = 1;
					else if(HAL_GPIO_ReadPin(GPIOB, GPIO_PIN_10) == 1) key = 2;
					else if(HAL_GPIO_ReadPin(GPIOB, GPIO_PIN_1)  == 1) key = 3;
					else if(HAL_GPIO_ReadPin(GPIOB, GPIO_PIN_0)  == 1) key = 4;
					break;
				case 2:
					if		 (HAL_GPIO_ReadPin(GPIOB, GPIO_PIN_11) == 1) key = 5;
					else if(HAL_GPIO_ReadPin(GPIOB, GPIO_PIN_10) == 1) key = 6;
					else if(HAL_GPIO_ReadPin(GPIOB, GPIO_PIN_1)  == 1) key = 7;
					else if(HAL_GPIO_ReadPin(GPIOB, GPIO_PIN_0)  == 1) key = 8;
					break;
				case 3:
					if		 (HAL_GPIO_ReadPin(GPIOB, GPIO_PIN_11) == 1) key = 9;
					else if(HAL_GPIO_ReadPin(GPIOB, GPIO_PIN_10) == 1) key = 10;
					else if(HAL_GPIO_ReadPin(GPIOB, GPIO_PIN_1)  == 1) key = 11;
					else if(HAL_GPIO_ReadPin(GPIOB, GPIO_PIN_0)  == 1) key = 12;
					break;
				case 4:
					if		 (HAL_GPIO_ReadPin(GPIOB, GPIO_PIN_11) == 1) key = 13;
					else if(HAL_GPIO_ReadPin(GPIOB, GPIO_PIN_10) == 1) key = 14;
					else if(HAL_GPIO_ReadPin(GPIOB, GPIO_PIN_1)  == 1) key = 15;
					else if(HAL_GPIO_ReadPin(GPIOB, GPIO_PIN_0)  == 1) key = 16;
					break;
				default:
					break;
			}

			switch(key){
				case KEY_LEFT:
					if(UI_page != 0){
						if(UI_subpage == 0) UI_page--;
					}
					if(UI_page == 1){
						if(UI_subpage == 1){
							switch(UI_setting_subselected){
								case 0:
									if(limit_temperature >= 1) limit_temperature--;
									break;

								case 1:
									if(limit_light >= 100) limit_light -= 100;
									break;

								case 2:
									if(limit_pressure >= 100) limit_pressure -=100;
									break;

								case 3:
									if(limit_humidity >= 1) limit_humidity--;
									break;

								default:
									break;
							}

						}
						else if(UI_subpage == 2){
							if(wifi_action_now == WIFI_ACTION_NONE){
								if(UI_wifi_page != 0) UI_wifi_page--;

							}
						}
					}
					break;

				case KEY_RIGHT:
					if(UI_page != UI_PAGE_MAX){
						if(UI_subpage == 0) UI_page++;
					}
					if(UI_page == 1){
						if(UI_subpage == 1){
							switch(UI_setting_subselected){
								case 0:
									if(limit_temperature <= 99) limit_temperature++;
									break;

								case 1:
									if(limit_light <= 65525) limit_light += 100;
									break;

								case 2:
									if(limit_pressure <= 2900) limit_pressure += 100;
									break;

								case 3:
									if(limit_humidity <= 99) limit_humidity++;
									break;

								default:
									break;
							}

						}
						else if(UI_subpage == 2){
							if(wifi_action_now == WIFI_ACTION_NONE){
								if(UI_wifi_page != WIFI_SHOW_PAGE_MAX) UI_wifi_page++;

							}
						}
					}
					break;

				case KEY_UP:
					if(UI_page == 1){
						if(UI_subpage == 0){
							if(UI_setting_selected != 0) UI_setting_selected--;
						}
						else{
							if(UI_setting_subselected != 0) UI_setting_subselected--;
						}
					}
					break;

				case KEY_DOWN:
					if(UI_page == 1){
						if(UI_subpage == 0){
							if(UI_setting_selected != UI_SETTING_MAX) UI_setting_selected++;
						}
						else{
							if(UI_setting_subselected != UI_SUBSELECTED_MAX) UI_setting_subselected++;
						}
					}
					break;

				case KEY_ENTER:
					if(UI_page == 1){
						switch(UI_subpage){
							case 0: {
									if(wifi_action_now == WIFI_ACTION_NONE){
										UI_subpage = UI_setting_selected + 1;
										switch(UI_subpage){
											case 1:
												UI_SUBSELECTED_MAX = 3;
												break;

											case 2:
												UI_SUBSELECTED_MAX = 4;
												UI_wifi_page = 0;
												if(wifi_status_now == WIFI_STATUS_DISCONN){
													for(uint8_t i = 0; i < WIFI_LIST_INDEX_MAX; i++){
														strcpy((char *)wifi_info[i].ssid, "");
														wifi_info[i].ecn = 0;
														for(uint8_t j = 0; j < 6; j++) wifi_info[i].mac[j] = 0x00;
													}

													wifi_action_now = WIFI_ACTION_SCAN;
													UartSend(&huart2, "AT+CWLAP\r\n");
												}
												break;

											case 3:
												UI_SUBSELECTED_MAX = 3;
												break;

											default:
												break;
										}
									}
								}
								break;

							case 2: {
								if(wifi_status_now == WIFI_STATUS_DISCONN && wifi_action_now == WIFI_ACTION_NONE){
									if(strcmp((char *)wifi_info[UI_setting_subselected + 5 * UI_wifi_page].ssid, "") != 0){
										wifi_action_now = WIFI_ACTION_CONN;
										wifi_info_connect = wifi_info[UI_setting_subselected + 5 * UI_wifi_page];
										switch(wifi_info[UI_setting_subselected + 5 * UI_wifi_page].ecn){
											case 0:
												//OPEN
												sprintf(str_buffer, "AT+CWJAP=\"%s\",\"\",\"%02x:%02x:%02x:%02x:%02x:%02x\"\r\n",
													wifi_info[UI_setting_subselected + 5 * UI_wifi_page].ssid,
													wifi_info[UI_setting_subselected + 5 * UI_wifi_page].mac[0],
													wifi_info[UI_setting_subselected + 5 * UI_wifi_page].mac[1],
													wifi_info[UI_setting_subselected + 5 * UI_wifi_page].mac[2],
													wifi_info[UI_setting_subselected + 5 * UI_wifi_page].mac[3],
													wifi_info[UI_setting_subselected + 5 * UI_wifi_page].mac[4],
													wifi_info[UI_setting_subselected + 5 * UI_wifi_page].mac[5]
												);
												UartSend(&huart2, str_buffer);
												UartSend(&huart1, "[Wi-Fi connect command sent.]\n");
												break;

											default:
												//Test only.
												sprintf(str_buffer, "AT+CWJAP=\"%s\",\"hardware\",\"%02x:%02x:%02x:%02x:%02x:%02x\"\r\n",
													wifi_info[UI_setting_subselected + 5 * UI_wifi_page].ssid,
													wifi_info[UI_setting_subselected + 5 * UI_wifi_page].mac[0],
													wifi_info[UI_setting_subselected + 5 * UI_wifi_page].mac[1],
													wifi_info[UI_setting_subselected + 5 * UI_wifi_page].mac[2],
													wifi_info[UI_setting_subselected + 5 * UI_wifi_page].mac[3],
													wifi_info[UI_setting_subselected + 5 * UI_wifi_page].mac[4],
													wifi_info[UI_setting_subselected + 5 * UI_wifi_page].mac[5]
												);
												UartSend(&huart2, str_buffer);
												UartSend(&huart1, "[Wi-Fi connect command sent.]\n");
												break;
										}
										break;
									}
								}
								else if(wifi_status_now == WIFI_STATUS_CONN){

									if(connection_status == 3){
										uint8_t retry = 0;
										while(wifi_action_now != WIFI_ACTION_NONE){
											if(retry >= 10) break;
											HAL_Delay(500);
											retry++;
										}
									}
									UartSend(&huart2, "AT+CIPCLOSE\r\n");
									osDelay(500);
									wifi_action_now = WIFI_ACTION_DISCONN;
									UartSend(&huart2, "AT+CWQAP\r\n");
									UartSend(&huart1, "[Wi-Fi disconnect command sent.]\n");
								}
							}
							break;

							default:
								break;

						}
					}
					break;

				case KEY_CANCEL:
					if(UI_page == 1){
						if(UI_subpage != 0){
							UI_subpage = 0;
						}
					}
					break;

				default:
					break;
			}

			HAL_Delay(200);
		}

		osDelay(10);
	}
}

void StartBuzzerTask(void *argument) {

	osDelay(1000);

	for(;;){

		if(wifi_action_now == WIFI_ACTION_NONE && UI_page == 0){
			if(environment_light > limit_light ||
				 environment_pressure > limit_pressure ||
				 environment_humidity > limit_humidity ||
				 ((environment_temperature_DHT11 + environment_temperature_BMP180) / 2) > limit_temperature){

				for(uint8_t i = 0; i < 64; i++){
					HAL_GPIO_TogglePin(GPIOB, GPIO_PIN_4);
					delay_us(500000 / 294);
				}
				for(uint8_t i = 0; i < 64; i++){
					HAL_GPIO_TogglePin(GPIOB, GPIO_PIN_4);
					delay_us(500000 / 350);
				}
				for(uint8_t i = 0; i < 96; i++){
					HAL_GPIO_TogglePin(GPIOB, GPIO_PIN_4);
					delay_us(500000 / 441);
				}

			}
		}

		osDelay(1000);
	}

}

uint8_t u8x8_byte_4wire_hw_spi(u8x8_t *u8x8, uint8_t msg, uint8_t arg_int,void *arg_ptr) {
	uint8_t i;
	uint8_t *data = NULL;

	switch (msg){
		case U8X8_MSG_BYTE_SEND:
			data = (uint8_t*)arg_ptr;
			if(arg_int == 1){
				OLED_WR_Byte(data[0], OLED_CMD);
			}
			else{
				for(i = 0; i < arg_int; i++) OLED_WR_Byte(data[i], OLED_DATA);
			}
			break;

		case U8X8_MSG_BYTE_INIT:
			OLED_Init();
			break;

		case U8X8_MSG_BYTE_SET_DC:
			arg_int ? OLED_DC_Set() : OLED_DC_Clr();
			break;

		case U8X8_MSG_BYTE_START_TRANSFER:
			OLED_CS_Set();
			break;

		case U8X8_MSG_BYTE_END_TRANSFER:
			OLED_CS_Clr();
			break;

		default:
			return 0;

	}
	return 1;
}

uint8_t u8x8_stm32_gpio_and_delay(U8X8_UNUSED u8x8_t *u8x8, U8X8_UNUSED uint8_t msg, U8X8_UNUSED uint8_t arg_int, U8X8_UNUSED void *arg_ptr) {
	switch (msg){
		case U8X8_MSG_GPIO_AND_DELAY_INIT:
			OLED_Init();
			HAL_Delay(10);
			break;

		case U8X8_MSG_DELAY_MILLI:
			HAL_Delay(arg_int);
			break;

		case U8X8_MSG_GPIO_CS:
			arg_int ? OLED_CS_Set() : OLED_CS_Clr();
			break;

		case U8X8_MSG_GPIO_DC:
			arg_int ? OLED_DC_Set() : OLED_DC_Clr();
			break;

		case U8X8_MSG_GPIO_RESET:
			//arg_int ? OLED_RES_Set() : OLED_RES_Clr();
			break;

	}
	return 1;
}

void u8g2_Init(u8g2_t *u8g2) {
	u8g2_Setup_ssd1306_128x64_noname_f(u8g2, U8G2_R0, u8x8_byte_4wire_hw_spi, u8x8_stm32_gpio_and_delay);
	u8g2_InitDisplay(u8g2);
	u8g2_SetPowerSave(u8g2, 0);

}

void u8g2_Draw(u8g2_t *u8g2) {

	switch(UI_page){
		case 0:

			if(wifi_status_now == WIFI_STATUS_CONN){

				if(wifi_rssi_inverted > 88){
					u8g2_DrawXBMP(u8g2, 104, 40, 24, 24, icon_wifi_1);
				}
				else if(wifi_rssi_inverted > 78){
					u8g2_DrawXBMP(u8g2, 104, 40, 24, 24, icon_wifi_2);
				}
				else if(wifi_rssi_inverted > 67){
					u8g2_DrawXBMP(u8g2, 104, 40, 24, 24, icon_wifi_3);
				}
				else if(wifi_rssi_inverted > 55){
					u8g2_DrawXBMP(u8g2, 104, 40, 24, 24, icon_wifi_4);
				}
				else{
					u8g2_DrawXBMP(u8g2, 104, 40, 24, 24, icon_wifi_5);
				}

			}
			else{
				u8g2_DrawXBMP(u8g2, 96, 32, 32, 32, icon_background);
			}

			u8g2_DrawXBMP(u8g2, 4, 0, 16, 16, icon_temp);
			u8g2_DrawXBMP(u8g2, 64, 0, 16, 16, icon_temp);
			u8g2_DrawXBMP(u8g2, 4, 16, 16, 16, icon_light);
			u8g2_DrawXBMP(u8g2, 4, 32, 16, 16, icon_pres);
			u8g2_DrawXBMP(u8g2, 4, 48, 16, 16, icon_humi);

			u8g2_SetFontDirection(u8g2, 1);
			u8g2_SetFontDirection(u8g2, 0);
			u8g2_SetFont(u8g2, u8g2_font_4x6_mf);
			u8g2_DrawStr(u8g2, 16, 6, "1");
			u8g2_DrawStr(u8g2, 76, 6, "2");

			u8g2_SetFont(u8g2, u8g2_font_6x10_tf);

			sprintf(str_buffer, "%.2f", environment_temperature_BMP180);
			u8g2_DrawStr(u8g2, 24, 12, str_buffer);

			sprintf(str_buffer, "%.2f", environment_temperature_DHT11);
			u8g2_DrawStr(u8g2, 84, 12, str_buffer);

			sprintf(str_buffer, "%dlux", environment_light);
			u8g2_DrawStr(u8g2, 24, 28, str_buffer);

			sprintf(str_buffer, "%.2fhPa", environment_pressure);
			u8g2_DrawStr(u8g2, 24, 44, str_buffer);

			sprintf(str_buffer, "%d%%", environment_humidity);
			u8g2_DrawStr(u8g2, 24, 60, str_buffer);
			break;

		case 1:
			switch(UI_subpage){
				case 0:
					u8g2_DrawXBMP(u8g2, 96, 32, 32, 32, icon_background_setting);
					u8g2_SetFont(u8g2, u8g2_font_6x10_tf);
					for(int i = 0; i < 3; i++){
						u8g2_DrawStr(u8g2, 16, 16 * (i + 1), UI_setting_texts[i]);
						if(i == UI_setting_selected){
							u8g2_DrawStr(u8g2, 4, 16 * (i + 1), ">");
						}
					}
					break;

				case 1:	//alarm
					u8g2_DrawStr(u8g2, 4, 16 * (UI_setting_subselected + 1) - 4, ">");
					u8g2_DrawXBMP(u8g2, 96, 32, 32, 32, icon_alarm);
					u8g2_DrawXBMP(u8g2, 16, 0, 16, 16, icon_temp);
					u8g2_DrawXBMP(u8g2, 16, 16, 16, 16, icon_light);
					u8g2_DrawXBMP(u8g2, 16, 32, 16, 16, icon_pres);
					u8g2_DrawXBMP(u8g2, 16, 48, 16, 16, icon_humi);

					sprintf(str_buffer, "%.2f", limit_temperature);
					u8g2_DrawStr(u8g2, 36, 12, str_buffer);

					sprintf(str_buffer, "%dlux", limit_light);
					u8g2_DrawStr(u8g2, 36, 28, str_buffer);

					sprintf(str_buffer, "%.2fhPa", limit_pressure);
					u8g2_DrawStr(u8g2, 36, 44, str_buffer);

					sprintf(str_buffer, "%d%%", limit_humidity);
					u8g2_DrawStr(u8g2, 36, 60, str_buffer);
					break;

				case 2:	//wifi
					if(wifi_action_now == WIFI_ACTION_SCAN){
						u8g2_DrawStr(u8g2, 32, 32, "Scanning...");
					}
					else if(wifi_action_now == WIFI_ACTION_CONN){
						u8g2_DrawStr(u8g2, 32, 32, "Connecting...");
					}
					else if(wifi_action_now == WIFI_ACTION_DISCONN){
						u8g2_DrawStr(u8g2, 32, 32, "Disconnecting...");
					}
					else if(wifi_action_now == WIFI_ACTION_NONE){
						if(wifi_status_now == WIFI_STATUS_DISCONN){
							for(uint8_t i = 0; i < 5; i++){
								u8g2_DrawStr(u8g2, 16, 12 * (i + 1), (char *)wifi_info[i + 5 * UI_wifi_page].ssid);
							}
							u8g2_DrawStr(u8g2, 4, 12 * (UI_setting_subselected + 1), ">");
							sprintf(str_buffer, "%d/6", UI_wifi_page + 1);
							u8g2_DrawStr(u8g2, 110, 12, str_buffer);
						}
						else if(wifi_status_now == WIFI_STATUS_CONN){
							u8g2_DrawStr(u8g2, 16, 12 , "Wi-Fi Connected");
							sprintf(str_buffer, "SSID: %s", wifi_info_connect.ssid);
							u8g2_DrawStr(u8g2, 16, 24 , str_buffer);

							u8g2_DrawStr(u8g2, 8, 48 , "[ENTER] > Disconnect");
						}
					}

					break;

				case 3:	//upload
					u8g2_DrawStr(u8g2, 16, 12, "Server IP:");
					sprintf(str_buffer, "%d.%d.%d.%d:%d", server_ip[0], server_ip[1], server_ip[2], server_ip[3], server_port);
					u8g2_DrawStr(u8g2, 16, 24, str_buffer);
					if(connection_status == 3) u8g2_DrawStr(u8g2, 16, 36, "[TCP Connected]");
					u8g2_DrawStr(u8g2, 16, 48, "Press number key");
					u8g2_DrawStr(u8g2, 16, 60, "to modify IP.");
					break;

				default:
					break;
			}
			break;

		default:
			break;
	}

}

void HAL_TIM_PeriodElapsedCallback(TIM_HandleTypeDef *htim)
{
  if (htim->Instance == TIM1) {
    HAL_IncTick();
  }
}

void Error_Handler(void)
{
  /* USER CODE BEGIN Error_Handler_Debug */
  /* User can add his own implementation to report the HAL error return state */

	UartSend(&huart1, "!!!Error_Handle!!!\n");

  __disable_irq();
  while (1)
  {
  }
  /* USER CODE END Error_Handler_Debug */
}
